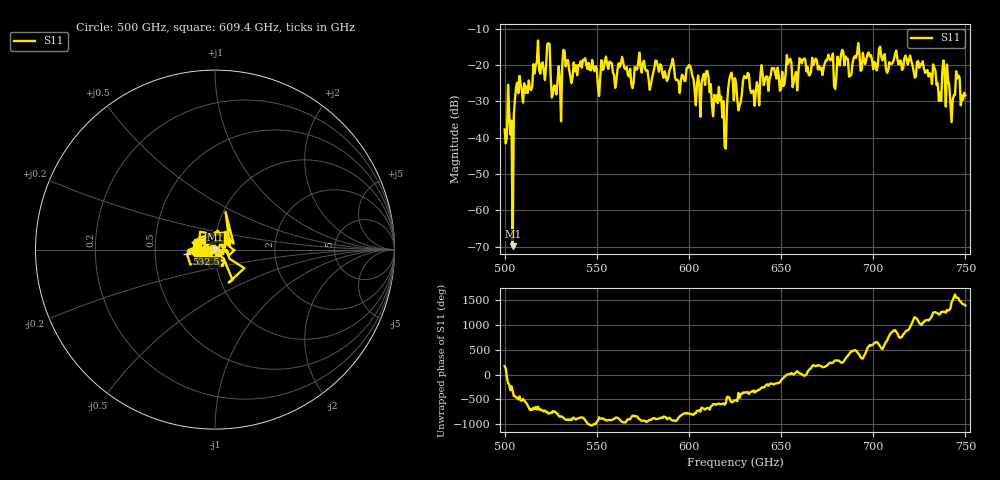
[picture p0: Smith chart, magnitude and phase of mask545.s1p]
!Created with skrf (http://scikit-rf.org).
# GHz S MA R 50.0
!freq magS11 angS11
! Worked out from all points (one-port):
!   401 points, 500 GHz to 750 GHz, reference 50 ohm
!   lowest |S11| = -69.9 dB at 504.4 GHz (marker M1), VSWR 1.00, Z = 50 + j0.0166 ohm
!   |S11| at or under -10 dB: start of sweep to end of sweep
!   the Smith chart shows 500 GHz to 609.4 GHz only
!   S11 on the Smith chart (normalised r, x): 500 GHz: 0.97, +0.00; 532.5 GHz: 0.73, -0.04; 609.4 GHz: 1.13, +0.11
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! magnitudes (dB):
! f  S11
! 500 GHz  -37.8
! 502.5 GHz  -33.3
! 504.4 GHz  -69.9
! 507.5 GHz  -27.8
! 523.8 GHz  -14.0
! 526.9 GHz  -25.7
! 531.2 GHz  -20.4
! 532.5 GHz  -16.1
! 550.6 GHz  -25.7
! 562.5 GHz  -20.5
! 579.4 GHz  -25.4
! 590.6 GHz  -19.7
! 593.8 GHz  -24.0
! 600 GHz  -20.0
! 605 GHz  -22.9
! 609.4 GHz  -21.8
! 619.4 GHz  -42.5
! 622.5 GHz  -22.7
! 625 GHz  -23.6
! 656.2 GHz  -26.1
! 687.5 GHz  -22.9
! 691.2 GHz  -16.8
! 718.8 GHz  -19.9
! 735.6 GHz  -29.9
! 738.8 GHz  -22.0
! 743.1 GHz  -29.6
! 745.6 GHz  -23.7
! 750 GHz  -28.4
